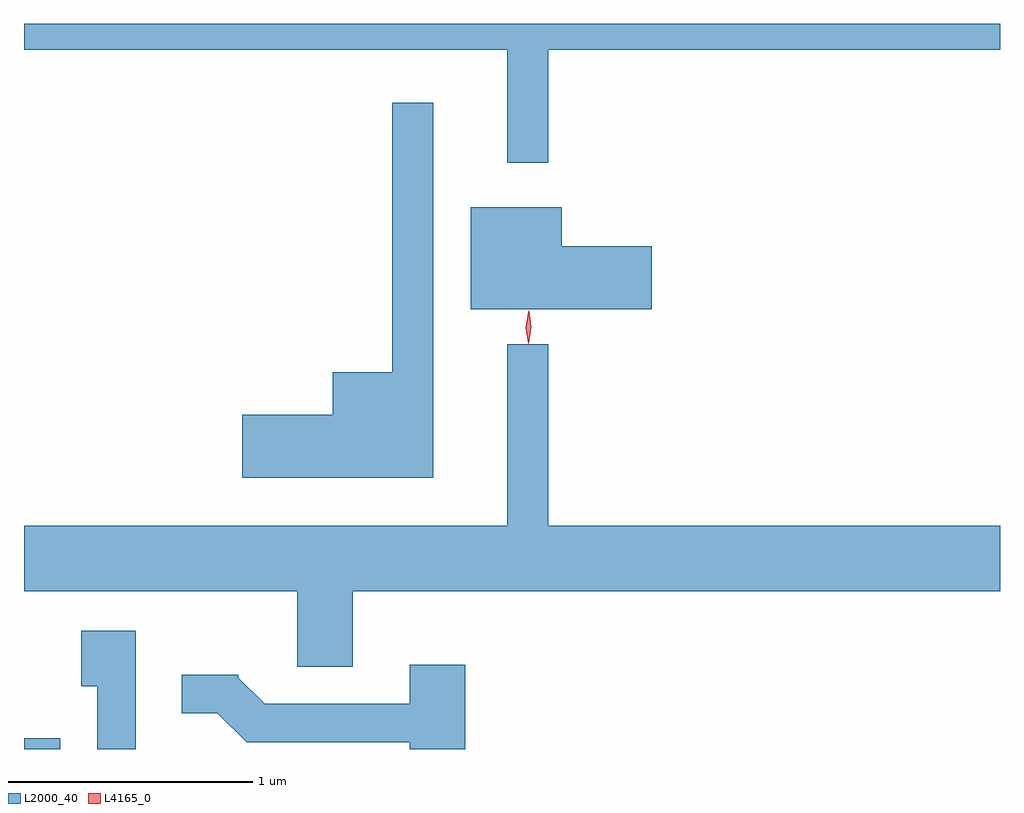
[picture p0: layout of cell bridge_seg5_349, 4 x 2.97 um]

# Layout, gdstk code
import gdstk
lib = gdstk.Library(unit=1e-6, precision=1e-09)
def R(c, l, rs):  # rectangles x0, y0, x1, y1
    for r in rs: c.add(gdstk.rectangle(r[:2], r[2:], *l))
def P(c, l, *ps):  # polygons
    for p in ps: c.add(gdstk.Polygon(p, *l))
L2000_40 = (2000, 40)
L4165_0 = (4165, 0)

bridge_seg5_349 = lib.new_cell('bridge_seg5_349')
R(bridge_seg5_349, L2000_40, [(600.311,1527.188,600.459,1527.234)])
P(bridge_seg5_349, L2000_40, [(602.459,1530.056),(604.311,1530.056),(604.311,1530.162),(600.311,1530.162),(600.311,1530.056),(602.291,1530.056),(602.291,1529.593),(602.459,1529.593)],
  [(601.989,1529.838),(601.821,1529.838),(601.821,1528.734),(601.576,1528.734),(601.576,1528.559),(601.206,1528.559),(601.206,1528.301),(601.989,1528.301)],
  [(602.884,1529.249),(602.514,1529.249),(602.514,1529.409),(602.141,1529.409),(602.141,1528.991),(602.884,1528.991)],
  [(601.659,1527.836),(604.311,1527.836),(604.311,1528.104),(602.459,1528.104),(602.459,1528.848),(602.291,1528.848),(602.291,1528.104),(600.311,1528.104),(600.311,1527.836),(601.431,1527.836),(601.431,1527.526),(601.659,1527.526)],
  [(600.769,1527.674),(600.546,1527.674),(600.546,1527.446),(600.611,1527.446),(600.611,1527.188),(600.769,1527.188)],
  [(602.119,1527.534),(601.891,1527.534),(601.891,1527.374),(601.297,1527.374),(601.19,1527.481),(601.19,1527.494),(600.958,1527.494),(600.958,1527.336),(601.104,1527.336),(601.224,1527.216),(601.891,1527.216),(601.891,1527.188),(602.119,1527.188)])
P(bridge_seg5_349, L4165_0, [(602.377,1528.853),(602.377,1528.853),(602.367,1528.916),(602.377,1528.98),(602.377,1528.98),(602.378,1528.98),(602.387,1528.916),(602.378,1528.853)],
  [(602.379,1528.85),(602.379,1528.85),(602.37,1528.918),(602.38,1528.985),(602.381,1528.986),(602.381,1528.985),(602.39,1528.918),(602.38,1528.85)])

lib.write_gds('bridge_seg5_349.gds')
